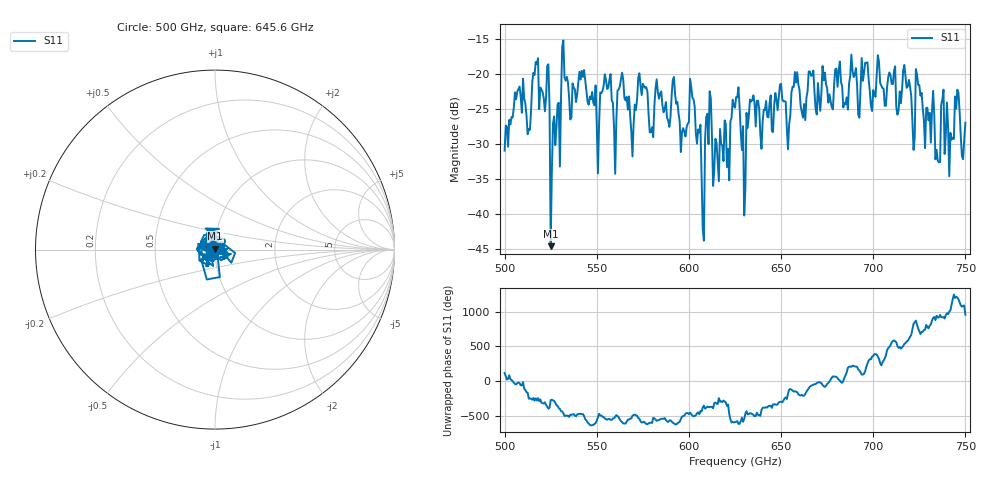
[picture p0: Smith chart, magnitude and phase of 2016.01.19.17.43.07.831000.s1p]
!Created with skrf (http://scikit-rf.org).
# GHz S RI R 50.0
!freq ReS11 ImS11
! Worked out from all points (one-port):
!   401 points, 500 GHz to 750 GHz, reference 50 ohm
!   lowest |S11| = -44.6 dB at 525 GHz (marker M1), VSWR 1.01, Z = 50.1 + j0.584 ohm
!   |S11| at or under -10 dB: start of sweep to end of sweep
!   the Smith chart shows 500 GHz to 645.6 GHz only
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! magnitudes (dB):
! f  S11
! 500 GHz  -31.0
! 506.9 GHz  -22.6
! 513.1 GHz  -27.9
! 516.9 GHz  -18.3
! 523.1 GHz  -18.9
! 525 GHz  -44.6
! 531.2 GHz  -16.2
! 550 GHz  -27.4
! 556.2 GHz  -22.0
! 559.4 GHz  -27.8
! 562.5 GHz  -21.8
! 569.4 GHz  -31.8
! 573.8 GHz  -21.7
! 579.4 GHz  -28.4
! 593.8 GHz  -24.0
! 601.9 GHz  -23.5
! 607.5 GHz  -42.2
! 610.6 GHz  -30.1
! 614.4 GHz  -29.3
! 625 GHz  -24.9
! 629.4 GHz  -27.5
! 634.4 GHz  -23.8
! 656.2 GHz  -21.9
! 687.5 GHz  -20.4
! 718.8 GHz  -21.8
! 735 GHz  -32.4
! 745.6 GHz  -22.3
! 750 GHz  -27.0
